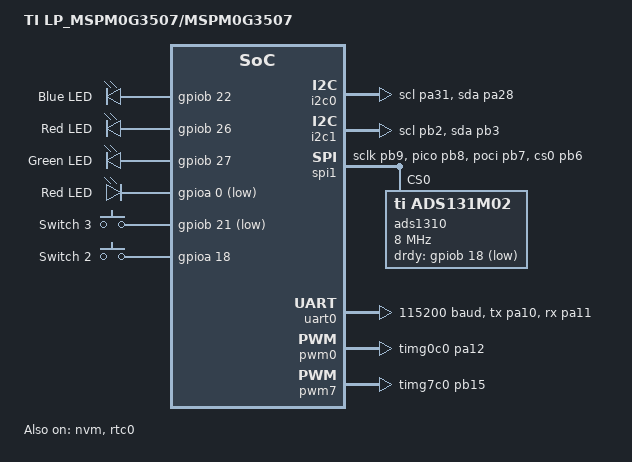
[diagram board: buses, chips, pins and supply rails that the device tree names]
/* SPDX-License-Identifier: Apache-2.0 */

/dts-v1/;

#include <ti/mspm0g1x0x_g3x0x/mspm0g3507.dtsi>
#include <ti/mspm0g1x0x_g3x0x/mspm0g350x-pinctrl.dtsi>
#include <zephyr/dt-bindings/input/input-event-codes.h>
#include <zephyr/dt-bindings/adc/mspm0_adc.h>

/ {
	model = "TI LP_MSPM0G3507/MSPM0G3507";
	compatible = "ti,mspm0g3507";

	aliases {
		led0 = &led0;
		led1 = &led1;
		led2 = &led2;
		led3 = &led3;
		sw0 = &btn0;
		sw1 = &btn1;
	};

	chosen {
		zephyr,sram = &sram0;
		zephyr,flash = &nvm;
		zephyr,console = &uart0;
		zephyr,shell-uart = &uart0;
		zephyr,code-partition = &slot0_partition;
	};

	leds {
		compatible = "gpio-leds";
		led0: led_0 {
			gpios = <&gpiob 22 GPIO_ACTIVE_HIGH>;
			label = "Blue LED";
		};
		led1: led_1 {
			gpios = <&gpiob 26 GPIO_ACTIVE_HIGH>;
			label = "Red LED";
		};
		led2: led_2 {
			gpios = <&gpiob 27 GPIO_ACTIVE_HIGH>;
			label = "Green LED";
		};
		led3: led_3 {
			gpios = <&gpioa 0 GPIO_ACTIVE_LOW>;
			label = "Red LED";
		};
	};

	keys {
		compatible = "gpio-keys";
		btn0: btn_0 {
			gpios = <&gpiob 21 (GPIO_ACTIVE_LOW | GPIO_PULL_UP)>;
			label = "Switch 3";
			zephyr,code = <INPUT_KEY_0>;
		};
		btn1: btn_1 {
			gpios = <&gpioa 18 (GPIO_ACTIVE_HIGH)>;
			label = "Switch 2";
			zephyr,code = <INPUT_KEY_1>;
		};
	};
};

&adc0 {
	ti,clk-source = <MSP_ADC_CLOCK_ULPCLK>;
	ti,clk-divider = <8>;
	ti,clk-range = <MSP_ADC_CLOCK_RANGE_24TO32>;
	vref-mv = <2500>;
	pinctrl-0 = <&adc0_pa27>;
	pinctrl-names = "default";
	status = "disabled";
};

&adc1 {
	ti,clk-source = <MSP_ADC_CLOCK_ULPCLK>;
	ti,clk-divider = <8>;
	ti,clk-range = <MSP_ADC_CLOCK_RANGE_24TO32>;
	vref-mv = <2500>;
	pinctrl-0 = <&adc1_pa15>;
	pinctrl-names = "default";
	status = "disabled";
};

&cpu0 {
	clock-frequency = <DT_FREQ_M(80)>;
};

&clkmux {
	clock-source = <&pll>;
	clock-frequency = <DT_FREQ_M(80)>;
	uclk-div = <2>;
};

&nvm {
	status = "okay";
	partitions {
		compatible = "fixed-partitions";
		#address-cells = <1>;
		#size-cells = <1>;

		boot_partition: partition@0 {
			label = "mcuboot";
			reg = <0x00000000 0x8000>;
		};
		slot0_partition: partition@8000 {
			label = "image-0";
			reg = <0x00008000 0xB000>;
		};
		slot1_partition: partition@13000 {
			label = "image-1";
			reg = <0x00013000 0xB000>;
		};
		scratch_partition: partition@15000 {
			label = "image-scratch";
			reg = <0x00015000 0x2000>;
		};
	};
};

&gpioa {
	status = "okay";
};

&gpiob {
	status = "okay";
};

&i2c0 {
	status = "okay";
	pinctrl-0 = <&i2c0_scl_pa31 &i2c0_sda_pa28>;
	pinctrl-names = "default";
};

&i2c1 {
	status = "okay";
	pinctrl-0 = <&i2c1_scl_pb2 &i2c1_sda_pb3>;
	pinctrl-names = "default";
};

&rtc0 {
	status = "okay";
};

&spi1 {
	pinctrl-0 = <&spi1_sclk_pb9 &spi1_pico_pb8 &spi1_poci_pb7 &spi1_cs0_pb6>;
	pinctrl-names = "default";
	status = "okay";
	#address-cells = <1>;
	#size-cells = <0>;

	ads1310: ads1310@0 {
		compatible = "ti,ads131m02";
		reg = <0>;
		#io-channel-cells = <1>;
		drdy-gpios = <&gpiob 18 (GPIO_ACTIVE_LOW)>;
		spi-max-frequency = <8000000>;
	};
};

&uart0 {
	status = "okay";
	current-speed = <115200>;
	pinctrl-0 = <&uart0_tx_pa10 &uart0_rx_pa11>;
	pinctrl-names = "default";
};

&pwm0 {
	status = "okay";
	pinctrl-0 = <&timg0c0_pa12>;
	pinctrl-names = "default";

	ti,cc-index = <0>;
	ti,clk-prescaler = <255>;
	ti,clk-div = <1>;

	ti,cc-mode = "PULSE_WIDTH";
	ti,period = <62499>;
};

&pwm7 {
	status = "okay";
	pinctrl-0 = <&timg7c0_pb15>;
	pinctrl-names = "default";

	ti,cc-index = <0>;
	ti,clk-prescaler = <255>;
	ti,clk-div = <1>;

	ti,pwm-mode = "EDGE_ALIGN";
	ti,pulse-cycle = <249>;
	ti,period = <1000>;
};

&pwma0 {
	status = "disabled";
	pinctrl-0 = <&tima0c0_pa8>;
	pinctrl-names = "default";

	ti,cc-index = <0>;
	ti,clk-prescaler = <9>;
	ti,clk-div = <1>;

	ti,pwm-mode = "CENTER_ALIGN";
	ti,pulse-cycle = <3>;
	ti,period = <10>;
};
